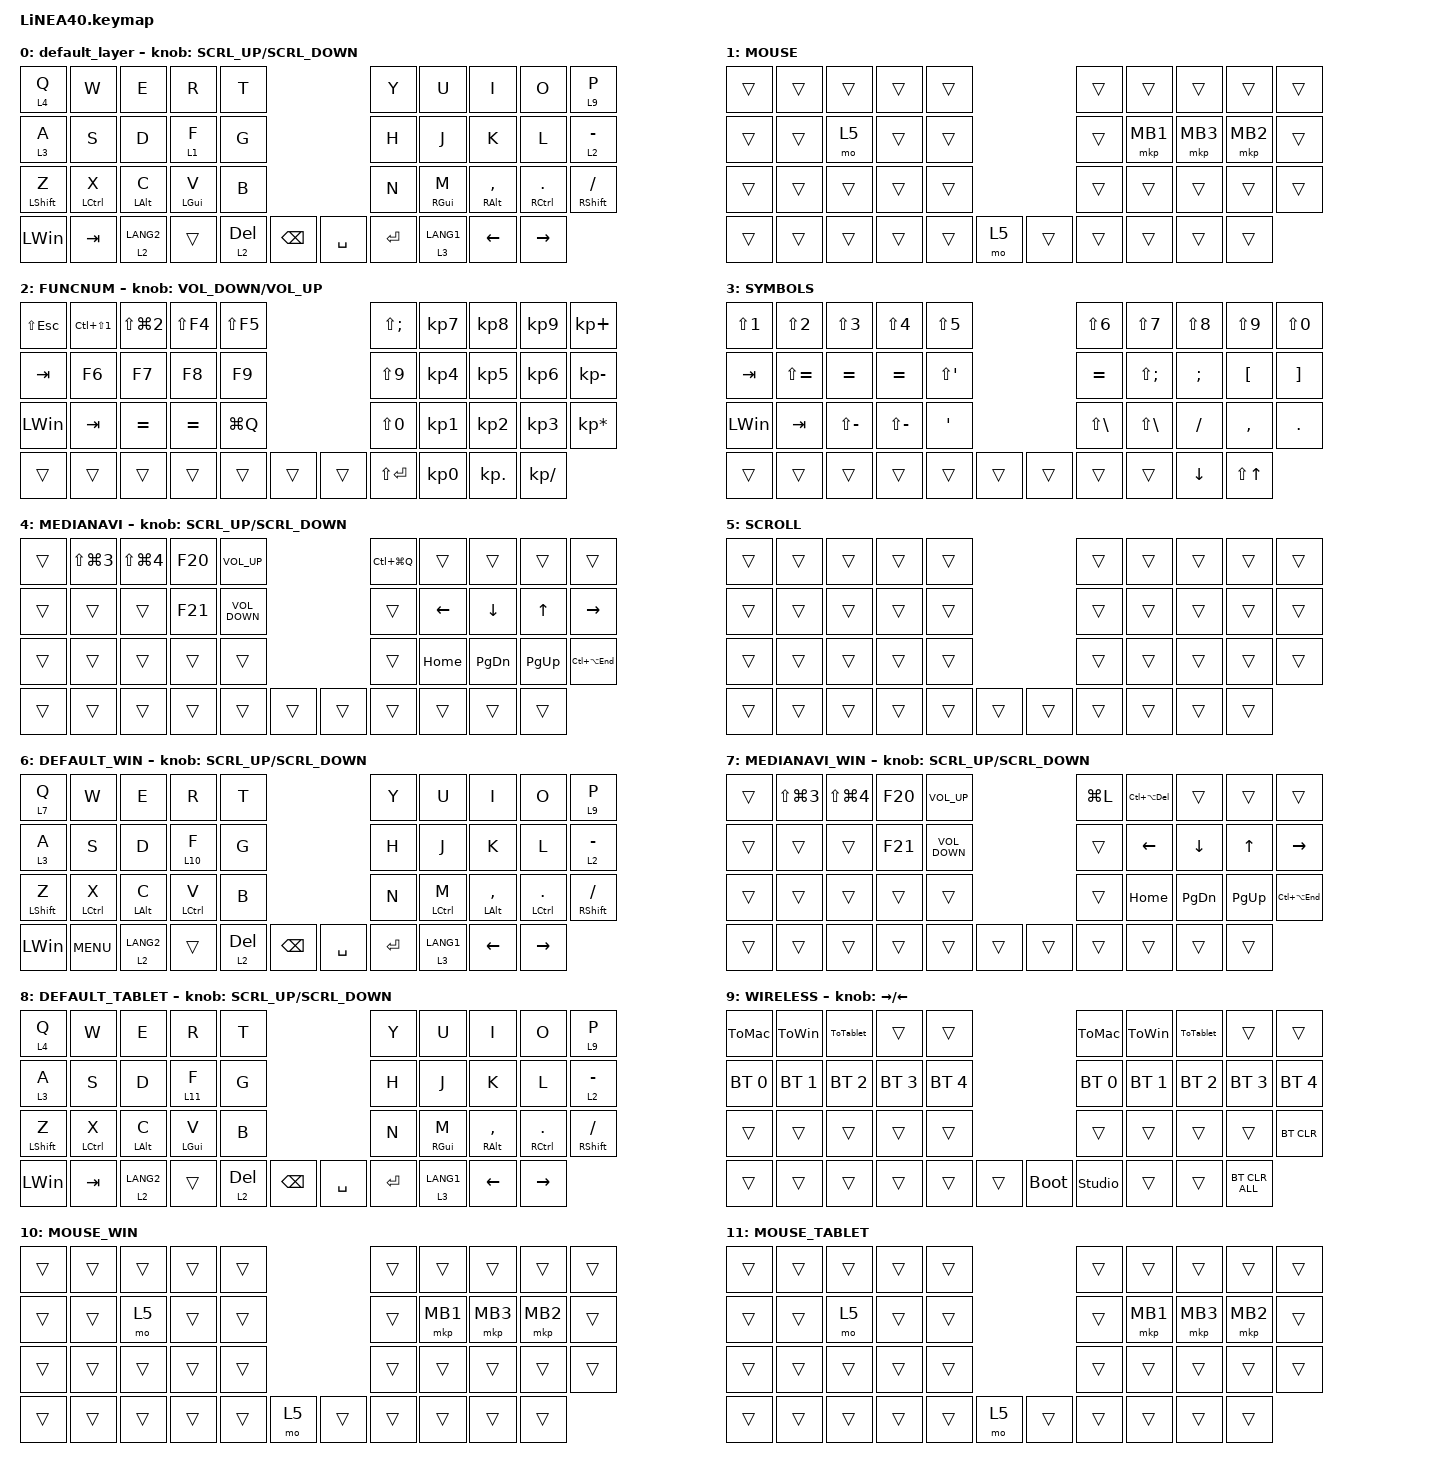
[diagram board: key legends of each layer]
#define ZMK_POINTING_DEFAULT_SCRL_VAL 150

#include <dt-bindings/zmk/input_transform.h>
#include <input/processors.dtsi>
#include <zephyr/dt-bindings/input/input-event-codes.h>
#include <behaviors.dtsi>
#include <dt-bindings/zmk/bt.h>
#include <dt-bindings/zmk/keys.h>
#include <dt-bindings/zmk/pointing.h>

#define MOUSE 1
#define FUNCNUM 2
#define SYMBOLS 3
#define MEDIANAVI 4
#define SCROLL 5
#define WIRELESS 9

//mouse cursol

&mmv {
    delay-ms = <20>;
    trigger-period-ms = <5>;
    time-to-max-speed-ms = <80>;  // 小さいほど早く最高速に達する（元:100）
    acceleration-exponent = <3>;  // 大きいほど強い加速（元:2）
};

//mouse scroll

&msc {
    delay-ms = <3>;
    trigger-period-ms = <3>;
    time-to-max-speed-ms = <100>;
    acceleration-exponent = <0>;
};

/ {
    input_processors {
        zip_wheel_scaler: zip_wheel_scaler {
            compatible = "zmk,input-processor-scaler";
            #input-processor-cells = <2>;
            type = <INPUT_EV_REL>;
            codes = <INPUT_REL_WHEEL>;
            track-remainders;
        };
    };
};

&msc_input_listener {
    // 全レイヤーで1/4に減速
    input-processors = <&zip_wheel_scaler 1 4>;

    speed_up {
        layers = <FUNCNUM>;
        // FUNCNUMレイヤーでは1/4×3=3/4倍速
        input-processors = <&zip_wheel_scaler 3 4>;
    };
};

&trackball_listener {
    scroller {
        layers = <SCROLL>;
        input-processors =
            <&zip_xy_to_scroll_mapper>;
    };
};

/ {
    combos {
        compatible = "zmk,combos";

        ArrowUp {
            bindings = <&kp UP_ARROW>;
            key-positions = <6 7>;
        };

        ArrowDown {
            bindings = <&kp DOWN_ARROW>;
            key-positions = <16 17>;
        };

        EscCombo {
            bindings = <&kp ESC>;
            key-positions = <1 2>;
        };

        TabCombo {
            bindings = <&kp TAB>;
            key-positions = <11 12>;
        };
    };

    behaviors {
        // ホームロウモッド用カスタムhold-tap
        // require-prior-idle-ms が最重要：直前150ms以内にキー入力があればホールド判定しない
        // Pキー用：ホールド優先のレイヤータップ（500ms長押しでWIRELESSレイヤー）
        lt_hp: lt_hold_preferred {
            compatible = "zmk,behavior-hold-tap";
            #binding-cells = <2>;
            flavor = "hold-preferred";
            tapping-term-ms = <500>;
            bindings = <&mo>, <&kp>;
        };

        hm: homerow_mod {
            compatible = "zmk,behavior-hold-tap";
            #binding-cells = <2>;
            flavor = "balanced";
            tapping-term-ms = <250>;    // 250ms以上でホールド（デフォルト200ms）
            quick-tap-ms = <100>;       // 100ms以内の連打はタップ扱い
            require-prior-idle-ms = <150>; // 直前150ms以内に入力があればタップ扱い
            bindings = <&kp>, <&kp>;
        };

        re_kp: sensor_rotate_kp {
            compatible = "zmk,behavior-sensor-rotate-var";
            #sensor-binding-cells = <2>;
            bindings = <&kp>, <&kp>;
        };

        mouse_scrl: mouse_wheel_scrl {
            compatible = "zmk,behavior-sensor-rotate-var";
            #sensor-binding-cells = <2>;
            bindings = <&msc>, <&msc>;
            tap-ms = <20>;
        };

        // ── マクロ：BT接続切替 ────────────────────────────────
        ToMac: ToMac {
            compatible = "zmk,behavior-macro";
            #binding-cells = <0>;
            wait-ms = <500>;
            bindings = <&to 0 &macro_wait_time 100 &bt BT_SEL 0 &macro_wait_time 500 &to 0>;
            label = "TOMAC";
        };

        ToWin: ToWin {
            compatible = "zmk,behavior-macro";
            #binding-cells = <0>;
            wait-ms = <500>;
            bindings = <&to 0 &macro_wait_time 100 &bt BT_SEL 1 &macro_wait_time 500 &to 6>;
            label = "TOWIN";
        };

        ToTablet: ToTablet {
            compatible = "zmk,behavior-macro";
            #binding-cells = <0>;
            wait-ms = <500>;
            bindings = <&to 0 &macro_wait_time 100 &bt BT_SEL 2 &macro_wait_time 500 &to 8>;
            label = "TOTABLET";
        };
    };

    keymap {
        compatible = "zmk,keymap";

        //0

        default_layer {
            bindings = <
&lt 4 Q       &kp W        &kp E        &kp R       &kp T                                      &kp Y      &kp U       &kp I            &kp O         &lt_hp 9 P
&lt 3 A       &kp S        &kp D        &lt 1 F     &kp G                                      &kp H      &kp J       &kp K            &kp L         &lt 2 MINUS
&hm LSHFT Z   &hm LCTRL X  &hm LALT C   &hm LGUI V  &kp B                                      &kp N      &hm RGUI M  &hm RALT COMMA   &hm RCTRL DOT  &hm RSHFT SLASH
&kp LEFT_WIN  &kp TAB      &lt 2 LANG2  &trans      &lt 2 DEL  &kp BACKSPACE      &kp SPACE    &kp ENTER              &lt 3 LANG1      &kp LEFT      &kp RIGHT
            >;

            sensor-bindings = <&mouse_scrl SCRL_UP SCRL_DOWN>;
        };

        //1

        MOUSE {
            bindings = <
&trans  &trans  &trans  &trans  &trans                   &trans  &trans    &trans    &trans    &trans
&trans  &trans  &mo 5   &trans  &trans                   &trans  &mkp MB1  &mkp MB3  &mkp MB2  &trans
&trans  &trans  &trans  &trans  &trans                   &trans  &trans    &trans    &trans    &trans
&trans  &trans  &trans  &trans  &trans  &mo 5    &trans  &trans            &trans    &trans    &trans
            >;
        };

        //2

        FUNCNUM {
            bindings = <
&kp LS(ESC)   &kp LC(LS(NUMBER_1))  &kp LS(LG(NUMBER_2))  &kp LS(F4)  &kp LS(F5)                    &kp LS(SEMI)   &kp KP_N7  &kp KP_N8  &kp KP_N9   &kp KP_PLUS
&kp TAB       &kp F6                &kp F7                &kp F8      &kp F9                        &kp LS(N9)     &kp KP_N4  &kp KP_N5  &kp KP_N6   &kp KP_MINUS
&kp LEFT_WIN  &kp TAB               &kp EQUAL             &kp EQUAL   &kp LG(Q)                     &kp LS(N0)     &kp KP_N1  &kp KP_N2  &kp KP_N3   &kp KP_ASTERISK
&trans        &trans                &trans                &trans      &trans      &trans    &trans  &kp LS(ENTER)             &kp KP_N0  &kp KP_DOT  &kp KP_SLASH
            >;

            sensor-bindings = <&re_kp C_VOLUME_DOWN C_VOLUME_UP>;
        };

        //3

        SYMBOLS {
            bindings = <
&kp LS(NUMBER_1)  &kp LS(NUMBER_2)  &kp LS(NUMBER_3)  &kp LS(NUMBER_4)  &kp LS(NUMBER_5)                    &kp LS(NUMBER_6)   &kp LS(NUMBER_7)   &kp LS(NUMBER_8)  &kp LS(NUMBER_9)  &kp LS(NUMBER_0)
&kp TAB           &kp LS(EQUAL)     &kp EQUAL         &kp EQUAL         &kp LS(SQT)                         &kp EQUAL          &kp LS(SEMI)       &kp SEMI          &kp LBKT          &kp RBKT
&kp LEFT_WIN      &kp TAB           &kp LS(MINUS)     &kp LS(MINUS)     &kp SQT                             &kp LS(BACKSLASH)  &kp LS(BACKSLASH)  &kp SLASH         &kp COMMA         &kp DOT
&trans            &trans            &trans            &trans            &trans            &trans    &trans  &trans                                &trans            &kp DOWN          &kp LS(UP_ARROW)
            >;
        };

        //4

        MEDIANAVI {
            bindings = <
&trans  &kp LS(LG(NUMBER_3))  &kp LS(LG(NUMBER_4))  &kp F20  &kp C_VOLUME_UP                      &kp LC(LG(Q))  &trans    &trans            &trans         &trans
&trans  &trans                &trans                &kp F21  &kp C_VOLUME_DOWN                    &trans         &kp LEFT  &kp DOWN       &kp UP       &kp RIGHT
&trans  &trans                &trans                &trans   &trans                               &trans         &kp HOME  &kp PAGE_DOWN  &kp PAGE_UP  &kp LC(LA(END))
&trans  &trans                &trans                &trans   &trans             &trans    &trans  &trans                   &trans         &trans       &trans
            >;

            sensor-bindings = <&mouse_scrl SCRL_UP SCRL_DOWN>;
        };

        //5

        SCROLL {
            bindings = <
&trans  &trans  &trans  &trans  &trans                    &trans  &trans  &trans  &trans  &trans
&trans  &trans  &trans  &trans  &trans                    &trans  &trans  &trans  &trans  &trans
&trans  &trans  &trans  &trans  &trans                    &trans  &trans  &trans  &trans  &trans
&trans  &trans  &trans  &trans  &trans  &trans    &trans  &trans          &trans  &trans  &trans
            >;
        };

        //6

        DEFAULT_WIN {
            bindings = <
&lt 7 Q       &kp W        &kp E        &kp R        &kp T                                      &kp Y      &kp U        &kp I           &kp O          &lt_hp 9 P
&lt 3 A       &kp S        &kp D        &lt 10 F     &kp G                                      &kp H      &kp J        &kp K           &kp L          &lt 2 MINUS
&hm LSHFT Z   &hm LCTRL X  &hm LALT C   &hm LCTRL V  &kp B                                      &kp N      &hm LCTRL M  &hm LALT COMMA  &hm LCTRL DOT  &hm RSHFT SLASH
&kp LEFT_WIN  &kp K_MENU   &lt 2 LANG2  &trans       &lt 2 DEL  &kp BACKSPACE      &kp SPACE    &kp ENTER               &lt 3 LANG1     &kp LEFT       &kp RIGHT
            >;

            sensor-bindings = <&mouse_scrl SCRL_UP SCRL_DOWN>;
        };

        //7

        MEDIANAVI_WIN {
            bindings = <
&trans  &kp LS(LG(NUMBER_3))  &kp LS(LG(NUMBER_4))  &kp F20  &kp C_VOLUME_UP                      &kp LG(L)  &kp LC(LA(DEL))  &trans           &trans         &trans
&trans  &trans                &trans                &kp F21  &kp C_VOLUME_DOWN                    &trans     &kp LEFT         &kp DOWN       &kp UP       &kp RIGHT
&trans  &trans                &trans                &trans   &trans                               &trans     &kp HOME         &kp PAGE_DOWN  &kp PAGE_UP  &kp LC(LA(END))
&trans  &trans                &trans                &trans   &trans             &trans    &trans  &trans                      &trans         &trans       &trans
            >;

            sensor-bindings = <&mouse_scrl SCRL_UP SCRL_DOWN>;
        };

        //8

        DEFAULT_TABLET {
            bindings = <
&lt 4 Q       &kp W        &kp E        &kp R       &kp T                                      &kp Y      &kp U       &kp I            &kp O         &lt_hp 9 P
&lt 3 A       &kp S        &kp D        &lt 11 F    &kp G                                      &kp H      &kp J       &kp K            &kp L         &lt 2 MINUS
&hm LSHFT Z   &hm LCTRL X  &hm LALT C   &hm LGUI V  &kp B                                      &kp N      &hm RGUI M  &hm RALT COMMA   &hm RCTRL DOT  &hm RSHFT SLASH
&kp LEFT_WIN  &kp TAB      &lt 2 LANG2  &trans      &lt 2 DEL  &kp BACKSPACE      &kp SPACE    &kp ENTER              &lt 3 LANG1      &kp LEFT      &kp RIGHT
            >;

            sensor-bindings = <&mouse_scrl SCRL_UP SCRL_DOWN>;
        };

        //9

        WIRELESS {
            bindings = <
&ToMac        &ToWin        &ToTablet     &trans        &trans                               &ToMac        &ToWin        &ToTablet     &trans        &trans
&bt BT_SEL 0  &bt BT_SEL 1  &bt BT_SEL 2  &bt BT_SEL 3  &bt BT_SEL 4                       &bt BT_SEL 0  &bt BT_SEL 1  &bt BT_SEL 2  &bt BT_SEL 3  &bt BT_SEL 4
&trans        &trans        &trans        &trans        &trans                               &trans        &trans        &trans        &trans        &bt BT_CLR
&trans        &trans        &trans        &trans        &trans        &trans    &bootloader  &studio_unlock              &trans        &trans        &bt BT_CLR_ALL
            >;

            sensor-bindings = <&inc_dec_kp RIGHT_ARROW LEFT_ARROW>;
        };

        //10

        MOUSE_WIN {
            bindings = <
&trans  &trans  &trans  &trans  &trans                   &trans  &trans    &trans    &trans    &trans
&trans  &trans  &mo 5   &trans  &trans                   &trans  &mkp MB1  &mkp MB3  &mkp MB2  &trans
&trans  &trans  &trans  &trans  &trans                   &trans  &trans    &trans    &trans    &trans
&trans  &trans  &trans  &trans  &trans  &mo 5    &trans  &trans            &trans    &trans    &trans
            >;
        };

        //11

        MOUSE_TABLET {
            bindings = <
&trans  &trans  &trans  &trans  &trans                   &trans  &trans    &trans    &trans    &trans
&trans  &trans  &mo 5   &trans  &trans                   &trans  &mkp MB1  &mkp MB3  &mkp MB2  &trans
&trans  &trans  &trans  &trans  &trans                   &trans  &trans    &trans    &trans    &trans
&trans  &trans  &trans  &trans  &trans  &mo 5    &trans  &trans            &trans    &trans    &trans
            >;
        };
    };
};
